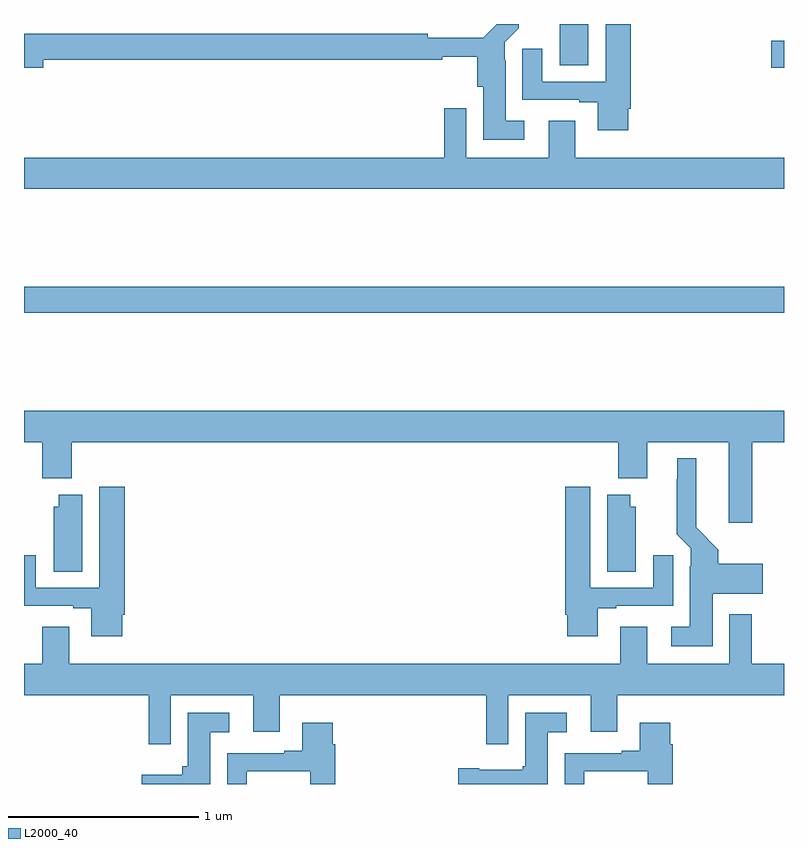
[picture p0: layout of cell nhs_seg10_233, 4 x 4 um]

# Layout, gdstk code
import gdstk
lib = gdstk.Library(unit=1e-6, precision=1e-09)
def R(c, l, rs):  # rectangles x0, y0, x1, y1
    for r in rs: c.add(gdstk.rectangle(r[:2], r[2:], *l))
def P(c, l, *ps):  # polygons
    for p in ps: c.add(gdstk.Polygon(p, *l))
L2000_40 = (2000, 40)

nhs_seg10_233 = lib.new_cell('nhs_seg10_233')
R(nhs_seg10_233, L2000_40, [(121,1316.98,125,1317.116), (124.932,1318.27,125,1318.412), (123.821,1318.282,123.97,1318.5)])
P(nhs_seg10_233, L2000_40, [(124.18,1318.054),(124.193,1318.054),(124.193,1318.5),(124.061,1318.5),(124.061,1318.197),(123.727,1318.197),(123.727,1318.369),(123.623,1318.369),(123.623,1318.101),(123.923,1318.101),(123.923,1318.089),(124.019,1318.089),(124.019,1317.942),(124.18,1317.942)],
  [(123.634,1317.991),(123.535,1317.991),(123.535,1318.31),(123.531,1318.31),(123.531,1318.404),(123.605,1318.478),(123.605,1318.5),(123.488,1318.5),(123.416,1318.428),(123.125,1318.428),(123.125,1318.448),(121,1318.448),(121,1318.27),(121.102,1318.27),(121.102,1318.312),(123.202,1318.312),(123.202,1318.327),(123.386,1318.327),(123.386,1318.17),(123.416,1318.17),(123.416,1317.89),(123.634,1317.89)],
  [(125,1317.796),(123.901,1317.796),(123.901,1317.991),(123.761,1317.991),(123.761,1317.796),(123.327,1317.796),(123.327,1318.057),(123.211,1318.057),(123.211,1317.796),(121,1317.796),(121,1317.632),(125,1317.632)],
  [(124.832,1316.3),(125,1316.3),(125,1316.464),(121,1316.464),(121,1316.3),(121.097,1316.3),(121.097,1316.108),(121.25,1316.108),(121.25,1316.3),(124.127,1316.3),(124.127,1316.108),(124.279,1316.108),(124.279,1316.3),(124.709,1316.3),(124.709,1315.875),(124.832,1315.875)],
  [(124.624,1315.502),(124.888,1315.502),(124.888,1315.66),(124.655,1315.66),(124.655,1315.734),(124.537,1315.852),(124.537,1316.215),(124.439,1316.215),(124.439,1316.105),(124.435,1316.105),(124.435,1315.814),(124.509,1315.74),(124.509,1315.646),(124.505,1315.646),(124.505,1315.327),(124.407,1315.327),(124.407,1315.226),(124.624,1315.226)],
  [(124.021,1315.425),(124.117,1315.425),(124.117,1315.437),(124.417,1315.437),(124.417,1315.705),(124.313,1315.705),(124.313,1315.533),(123.979,1315.533),(123.979,1316.065),(123.848,1316.065),(123.848,1315.39),(123.86,1315.39),(123.86,1315.278),(124.021,1315.278)],
  [(121.516,1315.39),(121.529,1315.39),(121.529,1316.065),(121.397,1316.065),(121.397,1315.533),(121.063,1315.533),(121.063,1315.705),(121,1315.705),(121,1315.437),(121.259,1315.437),(121.259,1315.425),(121.355,1315.425),(121.355,1315.278),(121.516,1315.278)],
  [(124.219,1315.959),(124.192,1315.959),(124.192,1316.023),(124.07,1316.023),(124.07,1315.618),(124.219,1315.618)],
  [(121.306,1316.023),(121.184,1316.023),(121.184,1315.959),(121.157,1315.959),(121.157,1315.618),(121.306,1315.618)],
  [(121.773,1314.968),(122.207,1314.968),(122.207,1314.774),(122.347,1314.774),(122.347,1314.968),(123.433,1314.968),(123.433,1314.708),(123.549,1314.708),(123.549,1314.968),(123.983,1314.968),(123.983,1314.774),(124.123,1314.774),(124.123,1314.968),(125,1314.968),(125,1315.132),(124.829,1315.132),(124.829,1315.393),(124.713,1315.393),(124.713,1315.132),(124.279,1315.132),(124.279,1315.327),(124.139,1315.327),(124.139,1315.132),(121.237,1315.132),(121.237,1315.327),(121.097,1315.327),(121.097,1315.132),(121,1315.132),(121,1314.968),(121.657,1314.968),(121.657,1314.708),(121.773,1314.708)],
  [(121.981,1314.773),(122.08,1314.773),(122.08,1314.874),(121.862,1314.874),(121.862,1314.594),(121.832,1314.594),(121.832,1314.55),(121.62,1314.55),(121.62,1314.5),(121.981,1314.5)],
  [(123.757,1314.773),(123.856,1314.773),(123.856,1314.874),(123.638,1314.874),(123.638,1314.594),(123.624,1314.594),(123.624,1314.574),(123.397,1314.574),(123.397,1314.582),(123.285,1314.582),(123.285,1314.5),(123.757,1314.5)],
  [(123.949,1314.567),(124.283,1314.567),(124.283,1314.5),(124.415,1314.5),(124.415,1314.71),(124.402,1314.71),(124.402,1314.823),(124.241,1314.823),(124.241,1314.676),(124.145,1314.676),(124.145,1314.663),(123.845,1314.663),(123.845,1314.5),(123.949,1314.5)],
  [(122.173,1314.567),(122.507,1314.567),(122.507,1314.5),(122.639,1314.5),(122.639,1314.71),(122.626,1314.71),(122.626,1314.823),(122.465,1314.823),(122.465,1314.676),(122.369,1314.676),(122.369,1314.663),(122.069,1314.663),(122.069,1314.5),(122.173,1314.5)])

lib.write_gds('nhs_seg10_233.gds')
